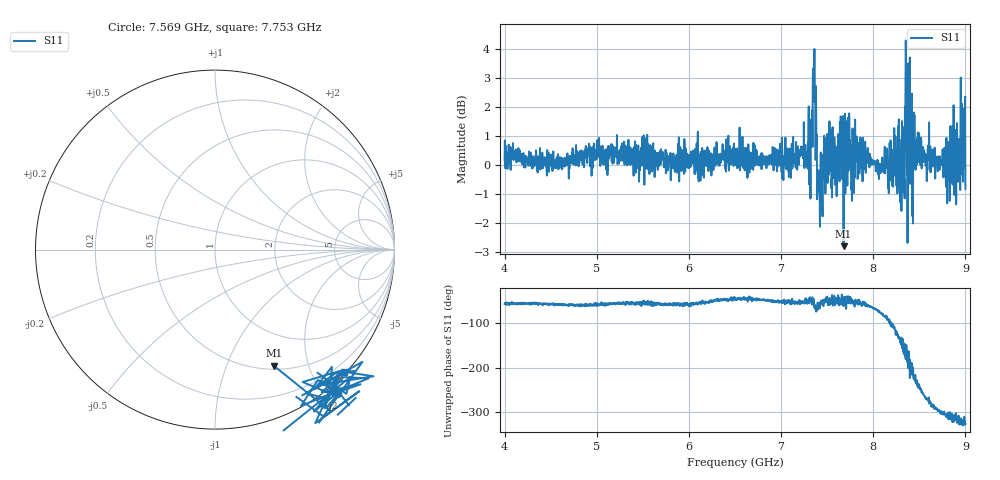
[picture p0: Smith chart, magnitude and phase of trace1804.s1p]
! Created with skrf 1.8.0 (http://scikit-rf.org).
# Hz S RI R 50.0
!freq ReS11 ImS11
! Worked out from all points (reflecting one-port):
!   1601 points, 4 GHz to 9 GHz, reference 50 ohm
!   lowest |S11| = -2.8 dB at 7.678 GHz (marker M1), VSWR 6.29, Z = 27.2 - j74.3 ohm
!   phase of S11 starts at -58 deg and turns -267 deg over the sweep
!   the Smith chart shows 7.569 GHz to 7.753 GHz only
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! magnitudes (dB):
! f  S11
! 4 GHz  0.2
! 4.625 GHz  -0.1
! 5.25 GHz  0.2
! 5.875 GHz  0.1
! 6.5 GHz  0.5
! 7.125 GHz  0.0
! 7.297 GHz  1.3
! 7.356 GHz  2.8
! 7.369 GHz  2.7
! 7.4 GHz  -0.2
! 7.425 GHz  -0.7
! 7.512 GHz  0.2
! 7.588 GHz  0.5
! 7.65 GHz  1.5
! 7.678 GHz  -2.8
! 7.75 GHz  -0.1
! 7.775 GHz  1.3
! 7.822 GHz  0.3
! 8.184 GHz  -0.5
! 8.253 GHz  -0.7
! 8.316 GHz  -0.3
! 8.334 GHz  -0.8
! 8.375 GHz  0.7
! 8.447 GHz  1.7
! 8.497 GHz  1.1
! 8.812 GHz  0.4
! 8.972 GHz  0.8
! 9 GHz  -0.8
